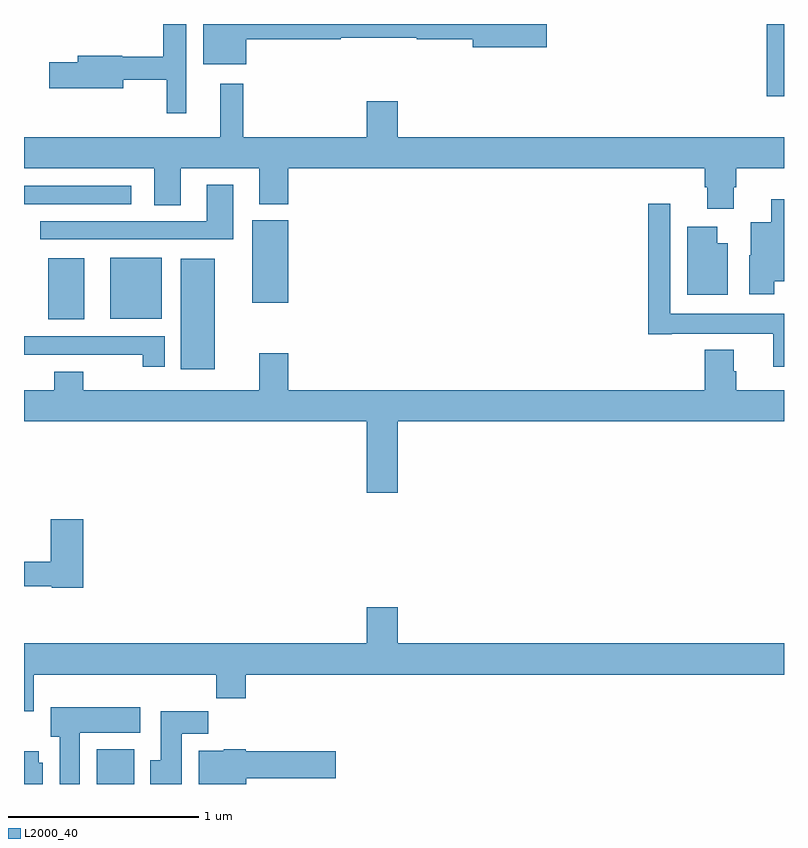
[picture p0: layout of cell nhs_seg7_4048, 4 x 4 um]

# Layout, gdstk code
import gdstk
lib = gdstk.Library(unit=1e-6, precision=1e-09)
def R(c, l, rs):  # rectangles x0, y0, x1, y1
    for r in rs: c.add(gdstk.rectangle(r[:2], r[2:], *l))
def P(c, l, *ps):  # polygons
    for p in ps: c.add(gdstk.Polygon(p, *l))
L2000_40 = (2000, 40)

nhs_seg7_4048 = lib.new_cell('nhs_seg7_4048')
R(nhs_seg7_4048, L2000_40, [(367.382,1040,367.579,1040.182), (367.826,1042.184,368.005,1042.765), (367.127,1042.445,367.318,1042.768), (367.454,1042.448,367.726,1042.771), (368.201,1042.532,368.392,1042.966), (367,1043.052,367.564,1043.148), (370.909,1043.621,371,1044)])
P(nhs_seg7_4048, L2000_40, [(367.855,1044),(367.734,1044),(367.734,1043.827),(367.518,1043.827),(367.518,1043.834),(367.283,1043.834),(367.283,1043.798),(367.134,1043.798),(367.134,1043.663),(367.522,1043.663),(367.522,1043.706),(367.751,1043.706),(367.751,1043.529),(367.855,1043.529)],
  [(368.17,1043.92),(368.666,1043.92),(368.666,1043.928),(369.066,1043.928),(369.066,1043.92),(369.362,1043.92),(369.362,1043.878),(369.751,1043.878),(369.751,1044),(367.943,1044),(367.943,1043.789),(368.17,1043.789)],
  [(370.735,1043.142),(370.748,1043.142),(370.748,1043.24),(371,1043.24),(371,1043.404),(368.968,1043.404),(368.968,1043.593),(368.804,1043.593),(368.804,1043.404),(368.155,1043.404),(368.155,1043.686),(368.033,1043.686),(368.033,1043.404),(367,1043.404),(367,1043.24),(367.685,1043.24),(367.685,1043.047),(367.825,1043.047),(367.825,1043.24),(368.237,1043.24),(368.237,1043.051),(368.39,1043.051),(368.39,1043.24),(370.583,1043.24),(370.583,1043.142),(370.595,1043.142),(370.595,1043.028),(370.735,1043.028)],
  [(368.101,1043.155),(367.961,1043.155),(367.961,1042.962),(367.086,1042.962),(367.086,1042.866),(368.101,1042.866)],
  [(370.948,1042.646),(371,1042.646),(371,1043.077),(370.934,1043.077),(370.934,1042.957),(370.826,1042.957),(370.826,1042.782),(370.817,1042.782),(370.817,1042.577),(370.948,1042.577)],
  [(371,1042.474),(370.401,1042.474),(370.401,1043.053),(370.285,1043.053),(370.285,1042.368),(370.408,1042.368),(370.408,1042.37),(370.943,1042.37),(370.943,1042.196),(371,1042.196)],
  [(370.705,1042.846),(370.648,1042.846),(370.648,1042.933),(370.49,1042.933),(370.49,1042.574),(370.705,1042.574)],
  [(367.741,1042.356),(367,1042.356),(367,1042.26),(367.396,1042.26),(367.396,1042.259),(367.624,1042.259),(367.624,1042.197),(367.741,1042.197)],
  [(368.968,1041.908),(371,1041.908),(371,1042.072),(370.748,1042.072),(370.748,1042.173),(370.735,1042.173),(370.735,1042.285),(370.583,1042.285),(370.583,1042.072),(368.39,1042.072),(368.39,1042.267),(368.237,1042.267),(368.237,1042.072),(367.313,1042.072),(367.313,1042.171),(367.16,1042.171),(367.16,1042.072),(367,1042.072),(367,1041.908),(368.804,1041.908),(368.804,1041.534),(368.968,1041.534)],
  [(367.313,1041.394),(367.142,1041.394),(367.142,1041.17),(367,1041.17),(367,1041.042),(367.146,1041.042),(367.146,1041.034),(367.313,1041.034)],
  [(367.051,1040.576),(368.011,1040.576),(368.011,1040.452),(368.168,1040.452),(368.168,1040.576),(371,1040.576),(371,1040.74),(368.968,1040.74),(368.968,1040.929),(368.804,1040.929),(368.804,1040.74),(367,1040.74),(367,1040.382),(367.051,1040.382)],
  [(367.294,1040.27),(367.612,1040.27),(367.612,1040.404),(367.142,1040.404),(367.142,1040.25),(367.187,1040.25),(367.187,1040),(367.294,1040)],
  [(367.831,1040.264),(367.97,1040.264),(367.97,1040.382),(367.721,1040.382),(367.721,1040.124),(367.664,1040.124),(367.664,1040),(367.831,1040)],
  [(368.17,1040.03),(368.641,1040.03),(368.641,1040.172),(368.166,1040.172),(368.166,1040.182),(368.052,1040.182),(368.052,1040.176),(367.919,1040.176),(367.919,1040),(368.17,1040)],
  [(367.099,1040.112),(367.078,1040.112),(367.078,1040.173),(367,1040.173),(367,1040),(367.099,1040)])

lib.write_gds('nhs_seg7_4048.gds')
